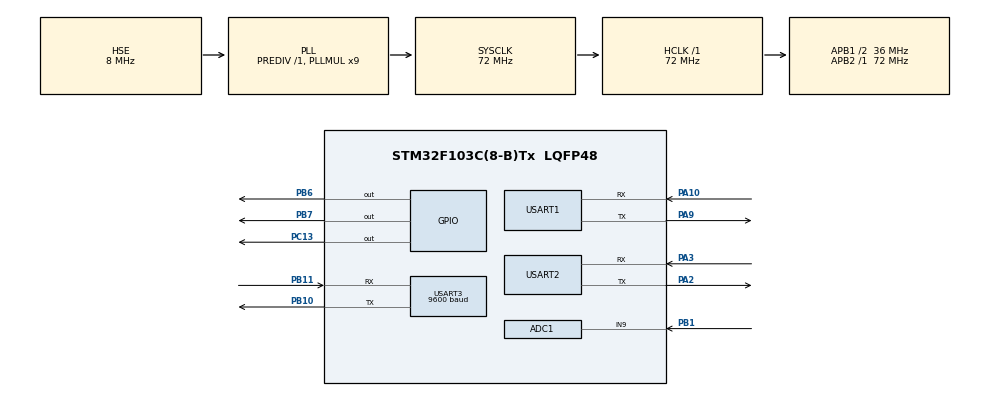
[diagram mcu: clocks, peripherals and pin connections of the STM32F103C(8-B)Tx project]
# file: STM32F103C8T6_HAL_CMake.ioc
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ADC1.Channel-7\#ChannelRegularConversion=ADC_CHANNEL_9
ADC1.ContinuousConvMode=ENABLE
ADC1.NbrOfConversionFlag=1
ADC1.Rank-7\#ChannelRegularConversion=1
ADC1.SamplingTime-7\#ChannelRegularConversion=ADC_SAMPLETIME_41CYCLES_5
ADC1.master=1
Dma.ADC1.2.Direction=DMA_PERIPH_TO_MEMORY
Dma.ADC1.2.Instance=DMA1_Channel1
Dma.ADC1.2.MemDataAlignment=DMA_MDATAALIGN_HALFWORD
Dma.ADC1.2.MemInc=DMA_MINC_ENABLE
Dma.ADC1.2.Mode=DMA_NORMAL
Dma.ADC1.2.PeriphDataAlignment=DMA_PDATAALIGN_HALFWORD
Dma.ADC1.2.PeriphInc=DMA_PINC_DISABLE
Dma.ADC1.2.Priority=DMA_PRIORITY_HIGH
Dma.Request0=USART2_RX
Dma.Request1=USART2_TX
Dma.Request2=ADC1
Dma.USART2_RX.0.Direction=DMA_PERIPH_TO_MEMORY
Dma.USART2_RX.0.Instance=DMA1_Channel6
Dma.USART2_RX.0.MemDataAlignment=DMA_MDATAALIGN_BYTE
Dma.USART2_RX.0.MemInc=DMA_MINC_ENABLE
Dma.USART2_RX.0.Mode=DMA_NORMAL
Dma.USART2_RX.0.PeriphDataAlignment=DMA_PDATAALIGN_BYTE
Dma.USART2_RX.0.PeriphInc=DMA_PINC_DISABLE
Dma.USART2_RX.0.Priority=DMA_PRIORITY_MEDIUM
Dma.USART2_TX.1.Direction=DMA_MEMORY_TO_PERIPH
Dma.USART2_TX.1.Instance=DMA1_Channel7
Dma.USART2_TX.1.MemDataAlignment=DMA_MDATAALIGN_BYTE
Dma.USART2_TX.1.MemInc=DMA_MINC_ENABLE
Dma.USART2_TX.1.Mode=DMA_NORMAL
Dma.USART2_TX.1.PeriphDataAlignment=DMA_PDATAALIGN_BYTE
Dma.USART2_TX.1.PeriphInc=DMA_PINC_DISABLE
Dma.USART2_TX.1.Priority=DMA_PRIORITY_MEDIUM
FREERTOS.Tasks01=ledTask,33,128,StartLED_Task,Default,NULL,Dynamic,NULL,NULL;wifiTask,48,128,StartWifi_Task,Default,NULL,Dynamic,NULL,NULL
FREERTOS.configUSE_NEWLIB_REENTRANT=1
Mcu.Family=STM32F1
Mcu.Name=STM32F103C(8-B)Tx
Mcu.Package=LQFP48
NVIC.ADC1_2_IRQn=true\:5\:0\:false\:false\:true\:true\:true\:true\:true
NVIC.DMA1_Channel1_IRQn=true\:5\:0\:false\:false\:true\:true\:false\:true\:true
NVIC.DMA1_Channel6_IRQn=true\:5\:0\:false\:false\:true\:true\:false\:true\:true
NVIC.DMA1_Channel7_IRQn=true\:5\:0\:false\:false\:true\:true\:false\:true\:true
NVIC.PriorityGroup=NVIC_PRIORITYGROUP_4
NVIC.TIM1_UP_IRQn=true\:15\:0\:false\:false\:true\:false\:false\:true\:true
NVIC.TimeBase=TIM1_UP_IRQn
NVIC.TimeBaseIP=TIM1
NVIC.USART1_IRQn=true\:5\:0\:false\:false\:true\:true\:true\:true\:true
NVIC.USART2_IRQn=true\:5\:0\:false\:false\:true\:true\:true\:true\:true
NVIC.USART3_IRQn=true\:5\:0\:false\:false\:true\:true\:true\:true\:true
PA10.Mode=Asynchronous
PA10.Signal=USART1_RX
PA13.Mode=Serial_Wire
PA13.Signal=SYS_JTMS-SWDIO
PA14.Mode=Serial_Wire
PA14.Signal=SYS_JTCK-SWCLK
PA2.Mode=Asynchronous
PA2.Signal=USART2_TX
PA3.Mode=Asynchronous
PA3.Signal=USART2_RX
PA9.Mode=Asynchronous
PA9.Signal=USART1_TX
PB1.Signal=ADCx_IN9
PB10.Mode=Asynchronous
PB10.Signal=USART3_TX
PB11.Mode=Asynchronous
PB11.Signal=USART3_RX
PB6.GPIO_Speed=GPIO_SPEED_FREQ_HIGH
PB6.PinState=GPIO_PIN_RESET
PB6.Signal=GPIO_Output
PB7.GPIO_Speed=GPIO_SPEED_FREQ_HIGH
PB7.PinState=GPIO_PIN_RESET
PB7.Signal=GPIO_Output
PC13-TAMPER-RTC.PinState=GPIO_PIN_RESET
PC13-TAMPER-RTC.Signal=GPIO_Output
PC14-OSC32_IN.Mode=LSE-External-Oscillator
PC14-OSC32_IN.Signal=RCC_OSC32_IN
PC15-OSC32_OUT.Mode=LSE-External-Oscillator
PC15-OSC32_OUT.Signal=RCC_OSC32_OUT
PD0-OSC_IN.Mode=HSE-External-Oscillator
PD0-OSC_IN.Signal=RCC_OSC_IN
PD1-OSC_OUT.Mode=HSE-External-Oscillator
PD1-OSC_OUT.Signal=RCC_OSC_OUT
ProjectManager.HeapSize=0x200
ProjectManager.StackSize=0x400
ProjectManager.TargetToolchain=STM32CubeIDE
RCC.ADCPresc=RCC_ADCPCLK2_DIV6
RCC.AHBFreq_Value=72000000
RCC.APB1CLKDivider=RCC_HCLK_DIV2
RCC.APB1Freq_Value=36000000
RCC.APB1TimFreq_Value=72000000
RCC.APB2Freq_Value=72000000
RCC.APB2TimFreq_Value=72000000
RCC.HCLKFreq_Value=72000000
RCC.PLLMUL=RCC_PLL_MUL9
RCC.PLLSourceVirtual=RCC_PLLSOURCE_HSE
RCC.RTCClockSelection=RCC_RTCCLKSOURCE_LSE
RCC.SYSCLKFreq_VALUE=72000000
RCC.SYSCLKSource=RCC_SYSCLKSOURCE_PLLCLK
RCC.USBFreq_Value=72000000
RTC.Month=RTC_MONTH_MAY
RTC.WeekDay=RTC_WEEKDAY_THURSDAY
RTC.Year=19
SH.ADCx_IN9.0=ADC1_IN9,IN9
USART1.VirtualMode=VM_ASYNC
USART2.VirtualMode=VM_ASYNC
USART3.BaudRate=9600
USART3.VirtualMode=VM_ASYNC
VP_FREERTOS_VS_CMSIS_V2.Mode=CMSIS_V2
VP_RTC_No_RTC_Output.Mode=RTC_OUT_NO
VP_RTC_VS_RTC_Activate.Mode=RTC_Enabled
VP_RTC_VS_RTC_Calendar.Mode=RTC_Calendar
VP_SYS_VS_tim1.Mode=TIM1
board=custom

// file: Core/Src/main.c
/* USER CODE BEGIN Header */
/**
  ******************************************************************************
  * @file           : main.c
  * @brief          : Main program body
  ******************************************************************************
  * @attention
  *
  * Copyright (c) 2025 STMicroelectronics.
  * All rights reserved.
  *
  * This software is licensed under terms that can be found in the LICENSE file
  * in the root directory of this software component.
  * If no LICENSE file comes with this software, it is provided AS-IS.
  *
  ******************************************************************************
  */
/* USER CODE END Header */
#include "main.h"
#include "cmsis_os.h"
#include "adc.h"
#include "dma.h"
#include "rtc.h"
#include "usart.h"
#include "gpio.h"

/* USER CODE BEGIN Includes */
#include <stdio.h>
/* USER CODE END Includes */

void SystemClock_Config(void);
void MX_FREERTOS_Init(void);

int main(void)
{

  /* MCU Configuration--------------------------------------------------------*/

  /* Reset of all peripherals, Initializes the Flash interface and the Systick. */
  HAL_Init();

  /* Configure the system clock */
  SystemClock_Config();

  /* Initialize all configured peripherals */
  MX_GPIO_Init();
  MX_DMA_Init();
  MX_USART1_UART_Init();
  MX_USART2_UART_Init();
  MX_USART3_UART_Init();
  MX_RTC_Init();
  MX_ADC1_Init();

  /* Init scheduler */
  osKernelInitialize();

  /* Call init function for freertos objects (in cmsis_os2.c) */
  MX_FREERTOS_Init();

  /* Start scheduler */
  osKernelStart();

  /* We should never get here as control is now taken by the scheduler */

  /* Infinite loop */
    while (1) {

    }
}

void SystemClock_Config(void)
{
  RCC_OscInitTypeDef RCC_OscInitStruct = {0};
  RCC_ClkInitTypeDef RCC_ClkInitStruct = {0};
  RCC_PeriphCLKInitTypeDef PeriphClkInit = {0};

  /** Initializes the RCC Oscillators according to the specified parameters
  * in the RCC_OscInitTypeDef structure.
  */
  RCC_OscInitStruct.OscillatorType = RCC_OSCILLATORTYPE_HSE|RCC_OSCILLATORTYPE_LSE;
  RCC_OscInitStruct.HSEState = RCC_HSE_ON;
  RCC_OscInitStruct.HSEPredivValue = RCC_HSE_PREDIV_DIV1;
  RCC_OscInitStruct.LSEState = RCC_LSE_ON;
  RCC_OscInitStruct.HSIState = RCC_HSI_ON;
  RCC_OscInitStruct.PLL.PLLState = RCC_PLL_ON;
  RCC_OscInitStruct.PLL.PLLSource = RCC_PLLSOURCE_HSE;
  RCC_OscInitStruct.PLL.PLLMUL = RCC_PLL_MUL9;
  if (HAL_RCC_OscConfig(&RCC_OscInitStruct) != HAL_OK)
  {
    Error_Handler();
  }

  /** Initializes the CPU, AHB and APB buses clocks
  */
  RCC_ClkInitStruct.ClockType = RCC_CLOCKTYPE_HCLK|RCC_CLOCKTYPE_SYSCLK
                              |RCC_CLOCKTYPE_PCLK1|RCC_CLOCKTYPE_PCLK2;
  RCC_ClkInitStruct.SYSCLKSource = RCC_SYSCLKSOURCE_PLLCLK;
  RCC_ClkInitStruct.AHBCLKDivider = RCC_SYSCLK_DIV1;
  RCC_ClkInitStruct.APB1CLKDivider = RCC_HCLK_DIV2;
  RCC_ClkInitStruct.APB2CLKDivider = RCC_HCLK_DIV1;

  if (HAL_RCC_ClockConfig(&RCC_ClkInitStruct, FLASH_LATENCY_2) != HAL_OK)
  {
    Error_Handler();
  }
  PeriphClkInit.PeriphClockSelection = RCC_PERIPHCLK_RTC|RCC_PERIPHCLK_ADC;
  PeriphClkInit.RTCClockSelection = RCC_RTCCLKSOURCE_LSE;
  PeriphClkInit.AdcClockSelection = RCC_ADCPCLK2_DIV6;
  if (HAL_RCCEx_PeriphCLKConfig(&PeriphClkInit) != HAL_OK)
  {
    Error_Handler();
  }
}

void HAL_TIM_PeriodElapsedCallback(TIM_HandleTypeDef *htim)
{
  if (htim->Instance == TIM1) {
    HAL_IncTick();
  }
}

void Error_Handler(void)
{
    __disable_irq();
    while (1) {
    }
}

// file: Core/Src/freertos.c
/* USER CODE BEGIN Header */
/**
  ******************************************************************************
  * File Name          : freertos.c
  * Description        : Code for freertos applications
  ******************************************************************************
  * @attention
  *
  * Copyright (c) 2025 STMicroelectronics.
  * All rights reserved.
  *
  * This software is licensed under terms that can be found in the LICENSE file
  * in the root directory of this software component.
  * If no LICENSE file comes with this software, it is provided AS-IS.
  *
  ******************************************************************************
  */
/* USER CODE END Header */

#include "FreeRTOS.h"
#include "task.h"
#include "main.h"
#include "cmsis_os.h"

/* USER CODE BEGIN Includes */
#include "adc.h"
#include "rtc.h"
#include "usart.h"
#include <string.h>
#include <stdlib.h>
/* USER CODE END Includes */

/* USER CODE BEGIN Variables */
RTC_DateTypeDef rtcDate;
RTC_TimeTypeDef rtcTime;
uint32_t ledLightNum = 0;
AppDevice appDevice;
float Vrms, Irms, P, PF, F, W;
/* USER CODE END Variables */
/* Definitions for ledTask */
osThreadId_t ledTaskHandle;
const osThreadAttr_t ledTask_attributes = {
  .name = "ledTask",
  .stack_size = 128 * 4,
  .priority = (osPriority_t) osPriorityAboveNormal1,
};
/* Definitions for wifiTask */
osThreadId_t wifiTaskHandle;
const osThreadAttr_t wifiTask_attributes = {
  .name = "wifiTask",
  .stack_size = 128 * 4,
  .priority = (osPriority_t) osPriorityRealtime,
};

void StartLED_Task(void *argument);
void StartWifi_Task(void *argument);

void MX_FREERTOS_Init(void); /* (MISRA C 2004 rule 8.1) */

void MX_FREERTOS_Init(void) {
  /* USER CODE BEGIN Init */
    rtcDate = Get_Build_Date();
    rtcTime = Get_Build_TIME();
    Set_RTC_Start_Time(rtcDate, rtcTime);
#ifdef USE_USART1_NORMAL
    HAL_UART_Receive_IT(usart1_rx.huart, &usart1_rx.ch, 1);    // 打开接收等相关中断
#endif
#ifdef USE_USART2_NORMAL
    HAL_UART_Receive_IT(usart2_rx.huart, &usart2_rx.ch, 1);    // 打开接收等相关中断
#endif
#ifdef USE_USART3_NORMAL
    HAL_UART_Receive_IT(usart3_rx.huart, &usart3_rx.ch, 1);    // 打开接收等相关中断
#endif
    Wifi_ConnectComputer();
  /* USER CODE END Init */

  /* Create the thread(s) */
  /* creation of ledTask */
  ledTaskHandle = osThreadNew(StartLED_Task, NULL, &ledTask_attributes);

  /* creation of wifiTask */
  wifiTaskHandle = osThreadNew(StartWifi_Task, NULL, &wifiTask_attributes);

}

void StartLED_Task(void *argument)
{
  /* USER CODE BEGIN StartLED_Task */
            /* Infinite loop */
    HAL_GPIO_WritePin(GPIOC, GPIO_PIN_13, GPIO_PIN_RESET);
    for (;;) {
        HAL_GPIO_WritePin(GPIOC, GPIO_PIN_13, GPIO_PIN_SET);
        ledLightNum++;
        osDelay(500);
        HAL_GPIO_WritePin(GPIOC, GPIO_PIN_13, GPIO_PIN_RESET);
        osDelay(500);
        HAL_RTC_GetTime(&hrtc, &rtcTime, RTC_FORMAT_BIN);
        HAL_RTC_GetDate(&hrtc, &rtcDate, RTC_FORMAT_BIN);
    }
  /* USER CODE END StartLED_Task */
}

void StartWifi_Task(void* argument)
{
    /* USER CODE BEGIN StartWifi_Task */
          /* Infinite loop */
    char midStr[64] = "";
    // char midCmd[32] = "";
    uint16_t length = 0;
    for (;;) {
#ifdef USE_USART2_NORMAL
        if (usart2_rx.finishFlag == 1) {
            // LOG_D("%s", usart2_rx.rxbuf);
            // if (usart2_rx.rxbuf[0] == '1') {
            //     EspSendData("测试\r\n", sizeof("测试"));
            // }
            // else if (usart2_rx.rxbuf[0] == '2') {
            //     length = sprintf(midStr, "%02d/%02d/%02d%3d\r\n", 2000 + rtcDate.Year, rtcDate.Month, rtcDate.Date, rtcDate.WeekDay);
            //     EspSendData(midStr, length);
            // }
            Set_stu_usart_rx_NULL(&usart2_rx);
        }
#endif
#ifdef USE_USART2_DMA
        if (usart2_dma.recvEndFlag == 1) {
            if (strstr((char*)usart2_dma.recvBuf, "+IPD,") != NULL) {
                int dataLength = 0;
                char* p = strstr((char*)usart2_dma.recvBuf, "+IPD,");
                if (p != NULL) {
                    p += 5; // Skip "+IPD,"
                    dataLength = atoi(p); // Convert to integer
                }
                while (p[0] != ':') {
                    p++;
                }
                p++; // Skip ':'

                if (dataLength > 0) {
                    // LOG_D("[rx]:\t%s[rx](END)", usart2_dma.recvBuf);
                    memcpy(midStr, p, length = dataLength);
                    midStr[length] = '\0'; // Null-terminate the string
                    LOG_D("[rx]:\t%s[rx](END)", midStr);
                    if (strstr(midStr, "[test]") != NULL) {
                        EspSendData("测试\r\n", sizeof("测试\r\n"));
                    }
                    else if (strstr(midStr, "[time]") != NULL) {
                        length = sprintf(midStr, "%02d/%02d/%02d%3d%3d:%2d:%2d\r\n", 2000 + rtcDate.Year, rtcDate.Month, rtcDate.Date, rtcDate.WeekDay, rtcTime.Hours, rtcTime.Minutes, rtcTime.Seconds);
                        EspSendData(midStr, length);
                    }
                    else if (strstr(midStr, "[led]") != NULL) {
                        length = sprintf(midStr, "ledlightNum:%ld\r\n", ledLightNum);
                        EspSendData(midStr, length);
                    }
                    else if (strstr(midStr, "[sound]") != NULL) {
                        USART3_Printf("<G>%c%c%c%c", 0xB2, 0xE2, 0xCA, 0xD4);
                    }
                    else if (strstr(midStr, "[key]") != NULL) {
                        switch (midStr[5]) {
                        case '1':
                            HAL_GPIO_WritePin(GPIOB, GPIO_PIN_6, GPIO_PIN_SET == (midStr[6] - '0'));
                            length = sprintf(midStr, "key[1]:OK\r\n");
                            EspSendData(midStr, length);
                            break;
                        case '2':
                            HAL_GPIO_WritePin(GPIOB, GPIO_PIN_7, GPIO_PIN_SET == (midStr[6] - '0'));
                            length = sprintf(midStr, "key[2]:OK\r\n");
                            EspSendData(midStr, length);
                            break;
                        default:
                            HAL_GPIO_WritePin(GPIOB, GPIO_PIN_6, GPIO_PIN_RESET);
                            HAL_GPIO_WritePin(GPIOB, GPIO_PIN_7, GPIO_PIN_RESET);
                            length = sprintf(midStr, "key all close\r\n");
                            EspSendData(midStr, length);
                            break;
                        }
                    }
                    else if (strstr(midStr, "[v]") != NULL) {
                        ADC1_GetValue();
                        length = sprintf(midStr, "adc1IN9:%f\r\n", adc1dmaData.data[0]);
                        EspSendData(midStr, length);
                    }
                    else if (strstr(midStr, "[p]") != NULL) {
                        printf(">>GetVal\r\n");
                        osDelay(10);
                        if (usart1_rx.finishFlag == 1) {
                            if (strstr((char*)usart1_rx.rxbuf, "OK") != NULL) {
                                EspSendData((char*)usart1_rx.rxbuf, usart1_rx.rxBufLength);
                            }
                            usart1_rx.finishFlag = 0;
                            usart1_rx.rxBufLength = 0;
                        }
                    }
                }
            }
            usart2_dma.recvEndFlag = 0;
            usart2_dma.recvLength = 0;
        }
#endif
        osDelay(100);
        ADC1_GetValue();
        if (adc1dmaData.data[0] < 3.0) {
            length = sprintf(midStr, "[blackout]\r\n");
            EspSendData(midStr, length);
        }
        printf(">>GetVal\r\n");
        osDelay(10);
        if (usart1_rx.finishFlag == 1) {
            // EspSendData((char*)usart1_rx.rxbuf, usart1_rx.rxBufLength);
            if (strstr((char*)usart1_rx.rxbuf, "OK") != NULL) {
                //  | Vrms:   0.00000V | Irms:   0.00000A | P:   0.0000W | PF: 0.00000 | F:  0.0000Hz | W:   0.0000KW*H |
                // 使用 sscanf 提取字段值
                char* midPData = strstr((char*)usart1_rx.rxbuf, "W |");
                while (midPData[0] != ':') {
                    midPData--;
                }
                if (midPData != NULL) {
                    P= strtof(midPData + 1, NULL);
                    // EspSendData("Power OK\r\n", sizeof("OK\r\n"));
                    // EspSendData((char*)usart1_rx.rxbuf, usart1_rx.rxBufLength);
                    // length = sprintf(midStr, "P:%f\r\n", P);
                    // EspSendData(midStr, length);
                    if (P > 1000.0) {
                        length = sprintf(midStr, "P:%f\r\n", P);
                        EspSendData(midStr, length);
                        HAL_GPIO_WritePin(GPIOB, GPIO_PIN_6, GPIO_PIN_RESET);
                        HAL_GPIO_WritePin(GPIOB, GPIO_PIN_7, GPIO_PIN_RESET);
                        EspSendData("ALL CLOSE", sizeof("ALL CLOSE"));
                        USART3_Printf("<G>%c%c%c%c%c%c%c%c",
                            0xB9, 0xA6, // 功
                            0xC2, 0xCA, // 率
                            0xB9, 0xFD, // 过
                            0xB8, 0xDF  // 高
                        );
                    }
                }
            }
            usart1_rx.finishFlag = 0;
            usart1_rx.rxBufLength = 0;
        }
    }
    /* USER CODE END StartWifi_Task */
}
